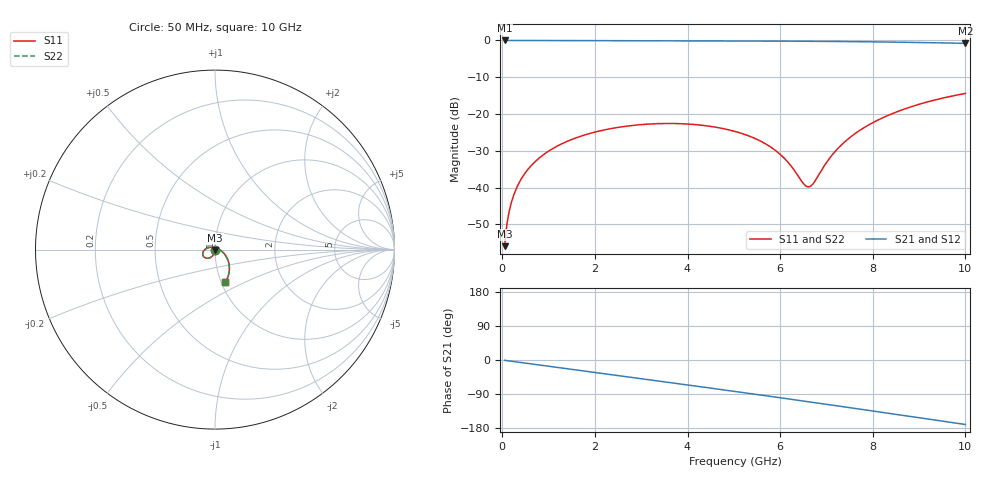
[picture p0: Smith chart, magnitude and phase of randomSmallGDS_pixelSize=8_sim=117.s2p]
! freq	dB(S11)	phase(S11)	dB(S12)	phase(S12)
!  dB(S21)	phase(S21)	dB(S22)	phase(S22)
!S-par simulation data
#  GHz  S  DB  R 50
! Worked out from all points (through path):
!   200 points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, 50 MHz to 10 GHz, reference 50 ohm
!   highest |S21| = 0.00 dB at 50 MHz (marker M1); lowest = -0.8 dB at 10 GHz (marker M2)
!   group delay of S21, straight-line fit = 47.2 ps
!   lowest |S11| = -55.9 dB at 50 MHz (marker M3), VSWR 1.00, Z = 50 - j0.16 ohm
!   |S11| at or under -10 dB: start of sweep to end of sweep
!   |S22| runs from -55.9 to -14.4 dB; largest |S21 - S12| = 0
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0.05  -55.89 -91.0  -0.00 -0.8  -0.00 -0.8  -55.89 -91.0
0.1  -49.87 -91.9  -0.00 -1.7  -0.00 -1.7  -49.87 -91.9
0.2  -43.84 -93.7  -0.00 -3.3  -0.00 -3.3  -43.84 -93.7
0.35  -38.98 -96.4  -0.01 -5.8  -0.01 -5.8  -38.98 -96.4
0.5  -35.90 -98.9  -0.01 -8.3  -0.01 -8.3  -35.90 -98.9
0.7  -33.03 -102.3  -0.01 -11.6  -0.01 -11.6  -33.04 -102.3
1  -30.07 -107.4  -0.02 -16.5  -0.02 -16.5  -30.07 -107.4
1.75  -25.79 -120.2  -0.04 -28.8  -0.04 -28.8  -25.79 -120.1
2.55  -23.52 -133.7  -0.07 -41.9  -0.07 -41.9  -23.52 -133.7
3.4  -22.59 -148.3  -0.09 -55.9  -0.09 -55.9  -22.59 -148.2
4.3  -23.03 -164.4  -0.12 -70.9  -0.12 -70.9  -23.03 -164.4
5.05  -24.81 -179.3  -0.14 -83.4  -0.14 -83.4  -24.81 -179.2
5.8  -28.99 161.2  -0.17 -96.2  -0.17 -96.2  -29.00 161.4
6.15  -32.82 145.3  -0.19 -102.2  -0.19 -102.2  -32.84 145.7
6.55  -39.49 90.2  -0.22 -109.1  -0.22 -109.1  -39.63 90.5
6.7  -39.12 49.2  -0.23 -111.7  -0.23 -111.7  -39.26 49.0
7.05  -32.30 0.9  -0.26 -117.8  -0.26 -117.8  -32.33 0.5
7.35  -28.06 -14.2  -0.29 -123.1  -0.29 -123.1  -28.07 -14.5
7.8  -23.79 -28.0  -0.35 -131.0  -0.35 -131.0  -23.79 -28.2
8.35  -20.25 -40.7  -0.43 -140.8  -0.43 -140.8  -20.26 -40.8
9.2  -16.63 -57.6  -0.60 -155.9  -0.60 -155.9  -16.63 -57.7
10  -14.40 -72.3  -0.78 -170.2  -0.78 -170.2  -14.41 -72.5
